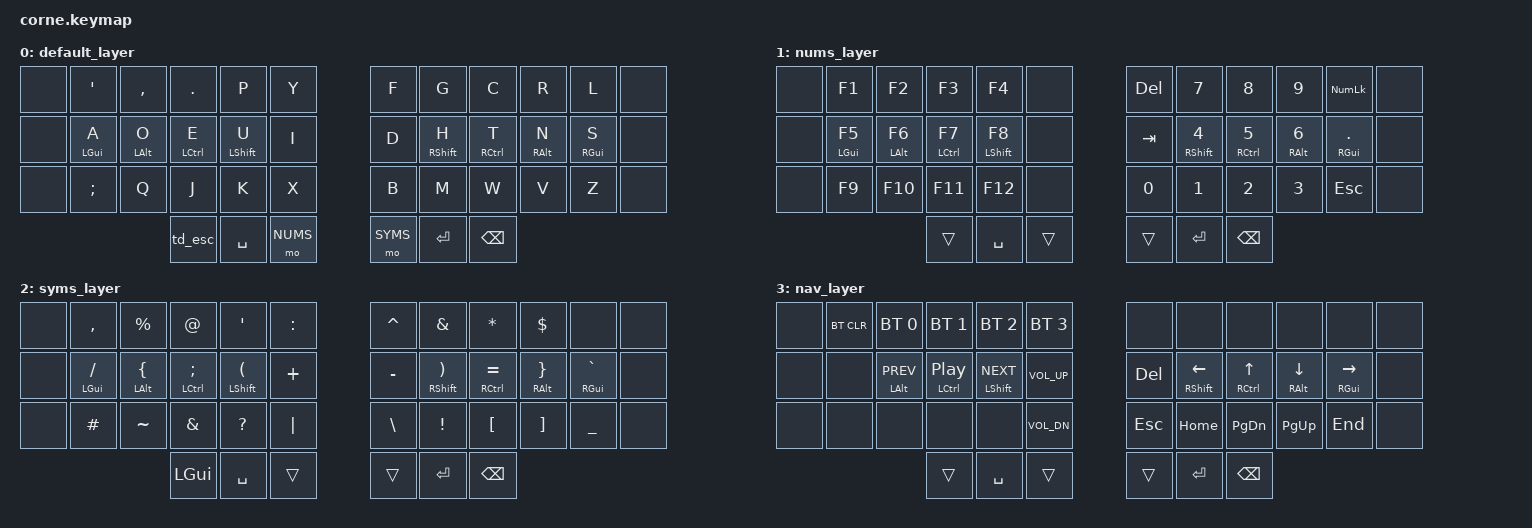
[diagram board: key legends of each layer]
/*
 * Copyright (c) 2020 The ZMK Contributors
 *
 * SPDX-License-Identifier: MIT
 */

#include <behaviors.dtsi>
#include <dt-bindings/zmk/keys.h>
#include <dt-bindings/zmk/bt.h>

#define BASE 0
#define NUMS 1
#define SYMS 2
#define NAV  3

/ {
        behaviors {
                hm: homerow_mods {
                        compatible = "zmk,behavior-hold-tap";
                        #binding-cells = <2>;
                        tapping-term-ms = <250>;
                        quick-tap-ms = <175>;
                        require-prior-idle-ms = <150>;
                        flavor = "balanced";
                        bindings = <&kp>, <&kp>;
                };
                td_esc: tap_dance_esc {
                        compatible = "zmk,behavior-tap-dance";
                        #binding-cells = <0>;
                        tapping-term-ms = <200>;
                        bindings = <&kp ESC>, <&kp TAB>;
                };
        };

        conditional_layers {
                compatible = "zmk,conditional-layers";
                nav_layer {
                        if-layers = <NUMS SYMS>;
                        then-layer = <NAV>;
                };
        };

        keymap {
                compatible = "zmk,keymap";

                default_layer {
// -----------------------------------------------------------------------------------------
// |     |  '  |  ,  |  .  |  P  |  Y  |   |  F  |  G   |  C  |  R  |  L  |     |
// |     |A/GUI|O/ALT|E/CTL|U/SFT|  I  |   |  D  |H/SFT |T/CTL|N/ALT|S/GUI|     |
// |     |  ;  |  Q  |  J  |  K  |  X  |   |  B  |  M   |  W  |  V  |  Z  |     |
//                   |ES/TB| SPC | NUM |   | SYM | ENT  | BSPC |
                        bindings = <
   &none &kp SQT    &kp COMMA  &kp DOT    &kp P      &kp Y   &kp F &kp G      &kp C      &kp R     &kp L     &none
   &none &hm LGUI A &hm LALT O &hm LCTRL E &hm LSHFT U &kp I   &kp D &hm RSHFT H &hm RCTRL T &hm RALT N &hm RGUI S &none
   &none &kp SEMI   &kp Q      &kp J      &kp K      &kp X   &kp B &kp M      &kp W      &kp V     &kp Z     &none
                                &td_esc    &kp SPACE  &mo NUMS    &mo SYMS &kp RET &kp BSPC
                        >;
                };

                nums_layer {
// -----------------------------------------------------------------------------------------
// |     | F1  | F2  | F3  | F4  |     |   | DEL |  7  |  8  |  9  | NUM |     |
// |     |F5/GU|F6/AL|F7/CT|F8/SF|     |   | TAB |4/SFT|5/CTL|6/ALT| ./GU|     |
// |     | F9  | F10 | F11 | F12 |     |   |  0  |  1  |  2  |  3  | ESC |     |
//                   |     | SPC |     |   |     | ENT | BSPC |
                        bindings = <
   &none &kp F1 &kp F2  &kp F3  &kp F4  &none     &kp DEL &kp N7 &kp N8 &kp N9 &kp KP_NUM &none
   &none &hm LGUI F5 &hm LALT F6 &hm LCTRL F7 &hm LSHFT F8 &none   &kp TAB &hm RSHFT N4 &hm RCTRL N5 &hm RALT N6 &hm RGUI DOT &none
   &none &kp F9 &kp F10 &kp F11 &kp F12 &none     &kp N0  &kp N1 &kp N2 &kp N3 &kp ESC    &none
                         &trans  &kp SPACE &trans   &trans  &kp RET &kp BSPC
                        >;
                };

                syms_layer {
// -----------------------------------------------------------------------------------------
// |     |  ,  |  %  |  @  |  '  |  :  |   |  ^  |  &  |  *  |  $  |     |     |
// |     | //GU| {/AL| ;/CT| (/SF|  +  |   |  -  | )/SF| =/CT| }/AL| `/GU|     |
// |     |  #  |  ~  |  &  |  ?  |  |  |   |  \  |  !  |  [  |  ]  |  _  |     |
//                   | GUI | SPC |     |   |     | ENT | BSPC |
                        bindings = <
   &none &kp COMMA &kp PRCNT &kp AT    &kp SQT  &kp COLON   &kp CARET &kp AMPS  &kp ASTRK &kp DLLR &none    &none
   &none &hm LGUI FSLH &hm LALT LBRC &hm LCTRL SEMI &hm LSHFT LPAR &kp PLUS   &kp MINUS &hm RSHFT RPAR &hm RCTRL EQUAL &hm RALT RBRC &hm RGUI GRAVE &none
   &none &kp HASH  &kp TILDE &kp AMPS  &kp QMARK &kp PIPE   &kp BSLH  &kp EXCL  &kp LBKT  &kp RBKT &kp UNDER &none
                              &kp LGUI  &kp SPACE &trans      &trans    &kp RET   &kp BSPC
                        >;
                };

                nav_layer {
// -----------------------------------------------------------------------------------------
// |     |BTCLR| BT1 | BT2 | BT3 | BT4 |   |     |     |     |     |     |     |
// |     |     |PV/AL|PL/CT|NX/SF| VOLU|   | DEL |LF/SF|UP/CT|DN/AL|RT/GU|     |
// |     |     |     |     |     | VOLD|   | ESC | HOME| PGDN| PGUP| END |     |
//                   |     | SPC |     |   |     | ENT | BSPC |
                        bindings = <
   &none &bt BT_CLR &bt BT_SEL 0 &bt BT_SEL 1 &bt BT_SEL 2 &bt BT_SEL 3   &none    &none     &none     &none     &none     &none
   &none &none      &hm LALT C_PREV &hm LCTRL C_PP &hm LSHFT C_NEXT &kp C_VOL_UP   &kp DEL &hm RSHFT LEFT &hm RCTRL UP &hm RALT DOWN &hm RGUI RIGHT &none
   &none &none      &none        &none        &none        &kp C_VOL_DN   &kp ESC  &kp HOME  &kp PG_DN &kp PG_UP &kp END   &none
                                               &trans       &kp SPACE      &trans    &trans   &kp RET   &kp BSPC
                        >;
                };
        };
};
